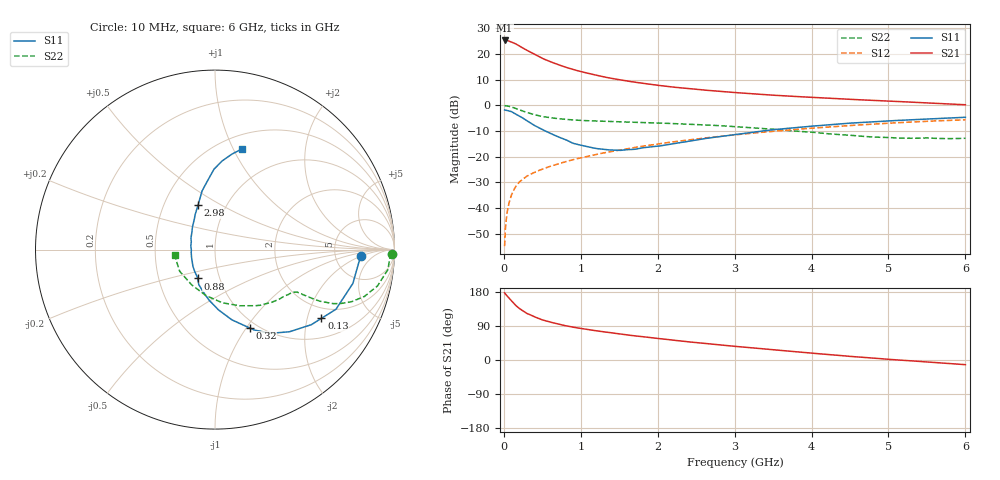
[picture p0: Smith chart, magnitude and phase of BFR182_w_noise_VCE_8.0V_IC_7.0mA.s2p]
! Infineon Technologies  Discrete & RF Semiconductors
! BFR182
! VCE =  8.0 V,  IC =  7.0 mA
! Common Emitter S-Parameters:  Nov 2015
# GHz  S  MA  R  50
!  f  S11  S21  S12  S22
! GHz  MAG  ANG  MAG  ANG  MAG  ANG  MAG  ANG
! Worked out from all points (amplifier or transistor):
!   210 points, 10 MHz to 6 GHz, reference 50 ohm
!   highest |S21| = 25.2 dB at 10 MHz (marker M1)
!   |S21| within 3 dB of that: start of sweep to 250.3 MHz
!   unconditionally stable (mu >= 1): 975.8 MHz to 2.87 GHz
!   at 185 MHz: K = 0.40, MSG = 26.9 dB, |S12| = -30.5 dB
!   at 1.52 GHz: K = 1.05, MAG = 12.3 dB, |S12| = -17.3 dB
!   at 6 GHz: K = 0.89, MSG = 2.9 dB, |S12| = -5.7 dB
!   lowest NFmin = 1.30 dB at 450 MHz
!   S11 on the Smith chart (normalised r, x): 10 MHz: 9.19, -2.07; 130 MHz: 1.60, -2.45; 320 MHz: 0.92, -1.04; 880 MHz: 0.78, -0.26; 2.98 GHz: 0.74, +0.39; 6 GHz: 0.64, +1.09
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0.01  0.8123 -2.7  18.28 177.1  0.0018 89.6  0.9855 -1.3
0.025  0.8003 -6.8  18.21 173.1  0.0048 84.4  0.9745 -3.4
0.05  0.791 -13.8  18.16 167.2  0.0094 83.0  0.9692 -6.7
0.1  0.7516 -26.2  17.05 156.0  0.018 76.8  0.9277 -12.6
0.13  0.7055 -32.9  16.24 149.4  0.0224 73.6  0.8939 -15.4
0.15  0.6808 -37.9  15.82 144.7  0.0254 72.1  0.8726 -17.4
0.2  0.6178 -47.8  14.42 136.2  0.0318 68.7  0.8161 -20.8
0.26  0.5472 -57.8  12.69 127.9  0.0376 66.0  0.7572 -23.4
0.3  0.4985 -64.0  11.76 122.8  0.0417 65.2  0.7226 -24.6
0.32  0.4777 -66.1  11.34 121.2  0.0432 64.8  0.7083 -24.9
0.4  0.4025 -76.5  9.782 113.5  0.0494 63.5  0.6511 -26.2
0.5  0.3359 -86.8  8.167 105.8  0.0569 63.5  0.6034 -26.7
0.7  0.2445 -105.7  6.226 94.9  0.0715 64.1  0.5489 -27.1
0.88  0.1879 -121.1  5.078 87.4  0.0856 64.6  0.5202 -27.3
1.02  0.1639 -134.3  4.451 82.7  0.0961 65.0  0.5053 -27.9
1.4  0.1342 -172.1  3.333 71.6  0.1256 64.7  0.4819 -31.0
2.02  0.1605 143.4  2.428 56.5  0.178 62.0  0.4506 -38.0
2.98  0.2643 111.1  1.779 36.5  0.2633 54.8  0.3861 -54.0
3.1  0.2795 108.7  1.727 34.4  0.2741 53.6  0.3747 -56.6
4.1  0.402 94.6  1.399 16.4  0.3662 43.4  0.2889 -85.6
5.1  0.5046 84.2  1.189 0.5  0.4556 31.6  0.231 -128.5
6  0.5827 74.8  1.022 -12.3  0.5208 19.5  0.2274 -172.2
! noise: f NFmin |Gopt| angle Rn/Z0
0.45  1.3  0.26  40  0.29
0.9  1.45  0.25  81  0.23
1.8  2  0.21  157  0.2
